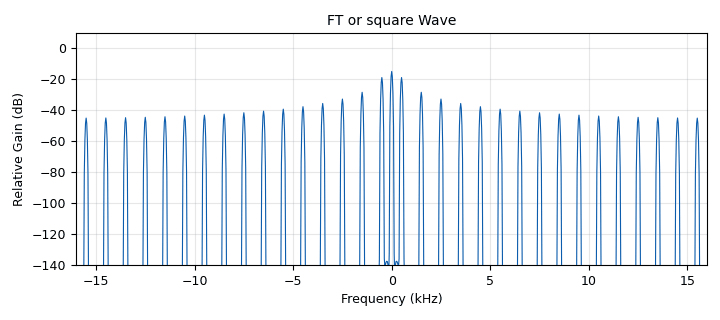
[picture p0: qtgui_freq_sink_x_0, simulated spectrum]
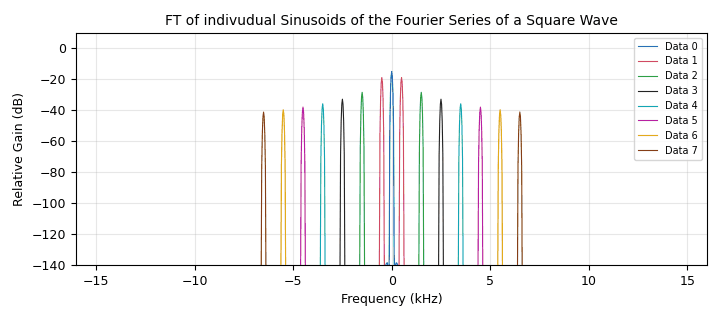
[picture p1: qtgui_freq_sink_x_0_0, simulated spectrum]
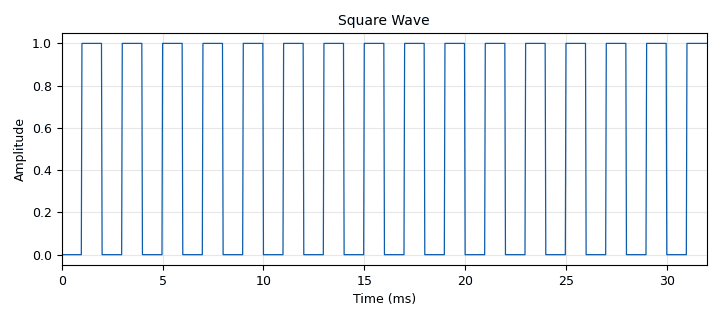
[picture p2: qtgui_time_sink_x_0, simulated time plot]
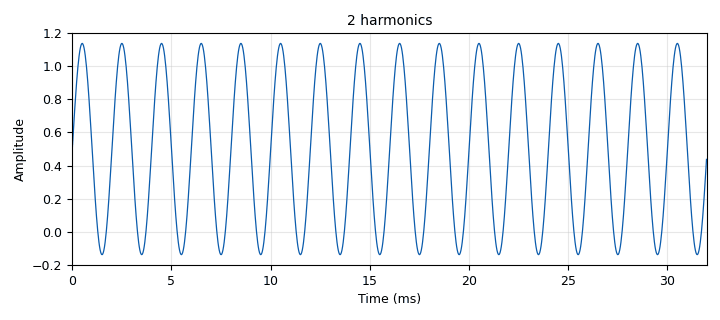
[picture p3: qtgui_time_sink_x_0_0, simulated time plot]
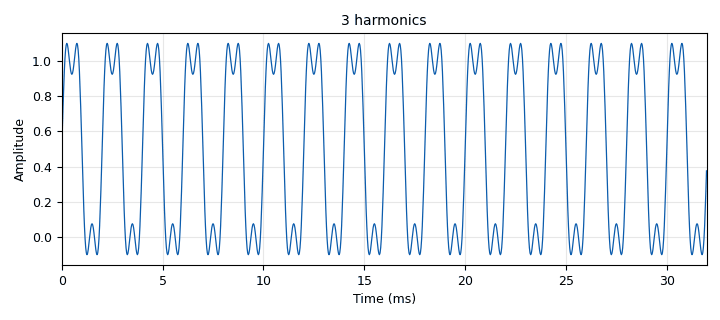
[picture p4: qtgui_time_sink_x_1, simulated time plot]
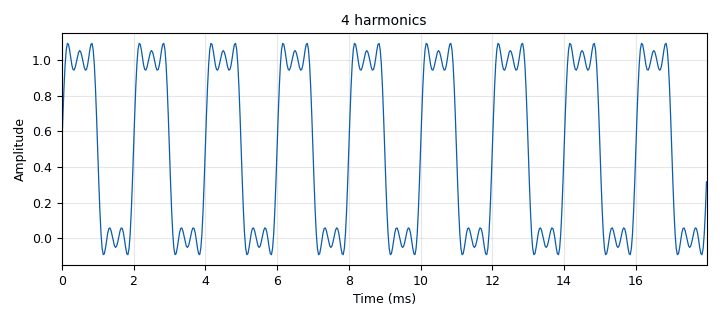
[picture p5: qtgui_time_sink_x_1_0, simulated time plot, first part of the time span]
<?xml version='1.0' encoding='utf-8'?>
<?grc format='1' created='3.7.10'?>
<flow_graph>
<block>
<key>options</key>
<param><key>id</key><value>top_block</value></param>
<param><key>generate_options</key><value>qt_gui</value></param>
</block>
<block>
<key>variable_qtgui_range</key>
<param><key>id</key><value>f</value></param>
<param><key>value</key><value>500</value></param>
<param><key>gui_hint</key><value>0,0,1,2</value></param>
<param><key>label</key><value>Frequency</value></param>
<param><key>orient</key><value>Qt.Horizontal</value></param>
<param><key>start</key><value>0</value></param>
<param><key>step</key><value>10</value></param>
<param><key>stop</key><value>1000</value></param>
</block>
<block>
<key>variable</key>
<param><key>id</key><value>samp_rate</value></param>
<param><key>value</key><value>32000</value></param>
</block>
<block>
<key>analog_const_source_x</key>
<param><key>id</key><value>analog_const_source_x_0</value></param>
<param><key>const</key><value>0.5</value></param>
<param><key>type</key><value>float</value></param>
</block>
<block>
<key>analog_sig_source_x</key>
<param><key>id</key><value>analog_sig_source_x_0</value></param>
<param><key>amp</key><value>1</value></param>
<param><key>freq</key><value>f*3</value></param>
<param><key>offset</key><value>0</value></param>
<param><key>type</key><value>float</value></param>
<param><key>samp_rate</key><value>samp_rate</value></param>
<param><key>waveform</key><value>analog.GR_SIN_WAVE</value></param>
</block>
<block>
<key>analog_sig_source_x</key>
<param><key>id</key><value>analog_sig_source_x_0_1</value></param>
<param><key>amp</key><value>1</value></param>
<param><key>freq</key><value>f</value></param>
<param><key>offset</key><value>0</value></param>
<param><key>type</key><value>float</value></param>
<param><key>samp_rate</key><value>samp_rate</value></param>
<param><key>waveform</key><value>analog.GR_SIN_WAVE</value></param>
</block>
<block>
<key>analog_sig_source_x</key>
<param><key>id</key><value>analog_sig_source_x_0_1_0</value></param>
<param><key>amp</key><value>1</value></param>
<param><key>freq</key><value>f</value></param>
<param><key>offset</key><value>0</value></param>
<param><key>type</key><value>float</value></param>
<param><key>samp_rate</key><value>samp_rate</value></param>
<param><key>waveform</key><value>analog.GR_SQR_WAVE</value></param>
</block>
<block>
<key>analog_sig_source_x</key>
<param><key>id</key><value>analog_sig_source_x_0_3</value></param>
<param><key>amp</key><value>1</value></param>
<param><key>freq</key><value>f*7</value></param>
<param><key>offset</key><value>0</value></param>
<param><key>type</key><value>float</value></param>
<param><key>samp_rate</key><value>samp_rate</value></param>
<param><key>waveform</key><value>analog.GR_SIN_WAVE</value></param>
</block>
<block>
<key>analog_sig_source_x</key>
<param><key>id</key><value>analog_sig_source_x_0_3_0</value></param>
<param><key>amp</key><value>1</value></param>
<param><key>freq</key><value>f*9</value></param>
<param><key>offset</key><value>0</value></param>
<param><key>type</key><value>float</value></param>
<param><key>samp_rate</key><value>samp_rate</value></param>
<param><key>waveform</key><value>analog.GR_SIN_WAVE</value></param>
</block>
<block>
<key>analog_sig_source_x</key>
<param><key>id</key><value>analog_sig_source_x_0_3_0_0</value></param>
<param><key>amp</key><value>1</value></param>
<param><key>freq</key><value>f*11</value></param>
<param><key>offset</key><value>0</value></param>
<param><key>type</key><value>float</value></param>
<param><key>samp_rate</key><value>samp_rate</value></param>
<param><key>waveform</key><value>analog.GR_SIN_WAVE</value></param>
</block>
<block>
<key>analog_sig_source_x</key>
<param><key>id</key><value>analog_sig_source_x_0_3_0_0_0</value></param>
<param><key>amp</key><value>1</value></param>
<param><key>freq</key><value>f*13</value></param>
<param><key>offset</key><value>0</value></param>
<param><key>type</key><value>float</value></param>
<param><key>samp_rate</key><value>samp_rate</value></param>
<param><key>waveform</key><value>analog.GR_SIN_WAVE</value></param>
</block>
<block>
<key>analog_sig_source_x</key>
<param><key>id</key><value>analog_sig_source_x_0_3_0_0_0_0</value></param>
<param><key>amp</key><value>1</value></param>
<param><key>freq</key><value>f*15</value></param>
<param><key>offset</key><value>0</value></param>
<param><key>type</key><value>float</value></param>
<param><key>samp_rate</key><value>samp_rate</value></param>
<param><key>waveform</key><value>analog.GR_SIN_WAVE</value></param>
</block>
<block>
<key>analog_sig_source_x</key>
<param><key>id</key><value>analog_sig_source_x_0_4</value></param>
<param><key>amp</key><value>1</value></param>
<param><key>freq</key><value>f*5</value></param>
<param><key>offset</key><value>0</value></param>
<param><key>type</key><value>float</value></param>
<param><key>samp_rate</key><value>samp_rate</value></param>
<param><key>waveform</key><value>analog.GR_SIN_WAVE</value></param>
</block>
<block>
<key>blocks_add_xx</key>
<param><key>id</key><value>blocks_add_xx_0</value></param>
<param><key>type</key><value>float</value></param>
</block>
<block>
<key>blocks_add_xx</key>
<param><key>id</key><value>blocks_add_xx_0_0</value></param>
<param><key>type</key><value>float</value></param>
</block>
<block>
<key>blocks_add_xx</key>
<param><key>id</key><value>blocks_add_xx_0_1</value></param>
<param><key>type</key><value>float</value></param>
</block>
<block>
<key>blocks_add_xx</key>
<param><key>id</key><value>blocks_add_xx_0_1_0</value></param>
<param><key>type</key><value>float</value></param>
</block>
<block>
<key>blocks_add_xx</key>
<param><key>id</key><value>blocks_add_xx_0_1_0_0</value></param>
<param><key>type</key><value>float</value></param>
</block>
<block>
<key>blocks_add_xx</key>
<param><key>id</key><value>blocks_add_xx_0_1_0_0_0</value></param>
<param><key>type</key><value>float</value></param>
</block>
<block>
<key>blocks_add_xx</key>
<param><key>id</key><value>blocks_add_xx_0_2</value></param>
<param><key>type</key><value>float</value></param>
</block>
<block>
<key>blocks_add_xx</key>
<param><key>id</key><value>blocks_add_xx_0_3</value></param>
<param><key>type</key><value>float</value></param>
</block>
<block>
<key>blocks_multiply_const_vxx</key>
<param><key>id</key><value>blocks_multiply_const_vxx_0</value></param>
<param><key>const</key><value>2/math.pi</value></param>
<param><key>type</key><value>float</value></param>
</block>
<block>
<key>blocks_multiply_const_vxx</key>
<param><key>id</key><value>blocks_multiply_const_vxx_0_0</value></param>
<param><key>const</key><value>2/(7*math.pi)</value></param>
<param><key>type</key><value>float</value></param>
</block>
<block>
<key>blocks_multiply_const_vxx</key>
<param><key>id</key><value>blocks_multiply_const_vxx_0_0_0</value></param>
<param><key>const</key><value>2/(9*math.pi)</value></param>
<param><key>type</key><value>float</value></param>
</block>
<block>
<key>blocks_multiply_const_vxx</key>
<param><key>id</key><value>blocks_multiply_const_vxx_0_0_0_0</value></param>
<param><key>const</key><value>2/(11*math.pi)</value></param>
<param><key>type</key><value>float</value></param>
</block>
<block>
<key>blocks_multiply_const_vxx</key>
<param><key>id</key><value>blocks_multiply_const_vxx_0_0_0_0_0</value></param>
<param><key>const</key><value>2/(13*math.pi)</value></param>
<param><key>type</key><value>float</value></param>
</block>
<block>
<key>blocks_multiply_const_vxx</key>
<param><key>id</key><value>blocks_multiply_const_vxx_0_0_0_0_0_0</value></param>
<param><key>const</key><value>2/(15*math.pi)</value></param>
<param><key>type</key><value>float</value></param>
</block>
<block>
<key>blocks_multiply_const_vxx</key>
<param><key>id</key><value>blocks_multiply_const_vxx_0_1</value></param>
<param><key>const</key><value>2/(5*math.pi)</value></param>
<param><key>type</key><value>float</value></param>
</block>
<block>
<key>blocks_multiply_const_vxx</key>
<param><key>id</key><value>blocks_multiply_const_vxx_0_2</value></param>
<param><key>const</key><value>2/(3*math.pi)</value></param>
<param><key>type</key><value>float</value></param>
</block>
<block>
<key>blocks_throttle</key>
<param><key>id</key><value>blocks_throttle_0</value></param>
<param><key>samples_per_second</key><value>samp_rate</value></param>
<param><key>type</key><value>float</value></param>
</block>
<block>
<key>blocks_throttle</key>
<param><key>id</key><value>blocks_throttle_0_0</value></param>
<param><key>samples_per_second</key><value>samp_rate</value></param>
<param><key>type</key><value>float</value></param>
</block>
<block>
<key>blocks_throttle</key>
<param><key>id</key><value>blocks_throttle_0_2</value></param>
<param><key>samples_per_second</key><value>samp_rate</value></param>
<param><key>type</key><value>float</value></param>
</block>
<block>
<key>blocks_throttle</key>
<param><key>id</key><value>blocks_throttle_0_3</value></param>
<param><key>samples_per_second</key><value>samp_rate</value></param>
<param><key>type</key><value>float</value></param>
</block>
<block>
<key>blocks_throttle</key>
<param><key>id</key><value>blocks_throttle_0_4</value></param>
<param><key>samples_per_second</key><value>samp_rate</value></param>
<param><key>type</key><value>float</value></param>
</block>
<block>
<key>blocks_throttle</key>
<param><key>id</key><value>blocks_throttle_0_5</value></param>
<param><key>samples_per_second</key><value>samp_rate</value></param>
<param><key>type</key><value>float</value></param>
</block>
<block>
<key>blocks_throttle</key>
<param><key>id</key><value>blocks_throttle_0_5_0</value></param>
<param><key>samples_per_second</key><value>samp_rate</value></param>
<param><key>type</key><value>float</value></param>
</block>
<block>
<key>blocks_throttle</key>
<param><key>id</key><value>blocks_throttle_0_5_0_0</value></param>
<param><key>samples_per_second</key><value>samp_rate</value></param>
<param><key>type</key><value>float</value></param>
</block>
<block>
<key>blocks_throttle</key>
<param><key>id</key><value>blocks_throttle_0_5_0_0_0</value></param>
<param><key>samples_per_second</key><value>samp_rate</value></param>
<param><key>type</key><value>float</value></param>
</block>
<block>
<key>blocks_throttle</key>
<param><key>id</key><value>blocks_throttle_0_5_0_0_0_0</value></param>
<param><key>samples_per_second</key><value>samp_rate</value></param>
<param><key>type</key><value>float</value></param>
</block>
<block>
<key>import</key>
<param><key>id</key><value>import_0</value></param>
<param><key>import</key><value>import math</value></param>
</block>
<block>
<key>qtgui_freq_sink_x</key>
<param><key>id</key><value>qtgui_freq_sink_x_0</value></param>
<param><key>bw</key><value>samp_rate</value></param>
<param><key>fc</key><value>0</value></param>
<param><key>fftsize</key><value>1024</value></param>
<param><key>name</key><value>"FT or square Wave"</value></param>
<param><key>showports</key><value>True</value></param>
<param><key>type</key><value>float</value></param>
<param><key>wintype</key><value>firdes.WIN_BLACKMAN_hARRIS</value></param>
</block>
<block>
<key>qtgui_freq_sink_x</key>
<param><key>id</key><value>qtgui_freq_sink_x_0_0</value></param>
<param><key>bw</key><value>samp_rate</value></param>
<param><key>fc</key><value>0</value></param>
<param><key>fftsize</key><value>1024</value></param>
<param><key>label2</key><value></value></param>
<param><key>label3</key><value></value></param>
<param><key>label4</key><value></value></param>
<param><key>label5</key><value></value></param>
<param><key>label6</key><value></value></param>
<param><key>label7</key><value></value></param>
<param><key>label8</key><value></value></param>
<param><key>name</key><value>"FT of indivudual Sinusoids of the Fourier Series of a Square Wave"</value></param>
<param><key>nconnections</key><value>8</value></param>
<param><key>showports</key><value>True</value></param>
<param><key>type</key><value>float</value></param>
<param><key>wintype</key><value>firdes.WIN_BLACKMAN_hARRIS</value></param>
</block>
<block>
<key>qtgui_time_sink_x</key>
<param><key>id</key><value>qtgui_time_sink_x_0</value></param>
<param><key>autoscale</key><value>True</value></param>
<param><key>gui_hint</key><value>1,0,1,2</value></param>
<param><key>grid</key><value>True</value></param>
<param><key>color1</key><value>"blue"</value></param>
<param><key>label1</key><value></value></param>
<param><key>name</key><value>"Square Wave"</value></param>
<param><key>size</key><value>1024</value></param>
<param><key>srate</key><value>samp_rate</value></param>
<param><key>type</key><value>float</value></param>
</block>
<block>
<key>qtgui_time_sink_x</key>
<param><key>id</key><value>qtgui_time_sink_x_0_0</value></param>
<param><key>autoscale</key><value>True</value></param>
<param><key>gui_hint</key><value>2,0,1,1</value></param>
<param><key>grid</key><value>True</value></param>
<param><key>color1</key><value>"blue"</value></param>
<param><key>label1</key><value></value></param>
<param><key>name</key><value>"2 harmonics"</value></param>
<param><key>size</key><value>1024</value></param>
<param><key>srate</key><value>samp_rate</value></param>
<param><key>type</key><value>float</value></param>
</block>
<block>
<key>qtgui_time_sink_x</key>
<param><key>id</key><value>qtgui_time_sink_x_1</value></param>
<param><key>autoscale</key><value>True</value></param>
<param><key>gui_hint</key><value>2,1,1,1</value></param>
<param><key>grid</key><value>True</value></param>
<param><key>color1</key><value>"blue"</value></param>
<param><key>label1</key><value></value></param>
<param><key>name</key><value>"3 harmonics"</value></param>
<param><key>size</key><value>1024</value></param>
<param><key>srate</key><value>samp_rate</value></param>
<param><key>type</key><value>float</value></param>
</block>
<block>
<key>qtgui_time_sink_x</key>
<param><key>id</key><value>qtgui_time_sink_x_1_0</value></param>
<param><key>autoscale</key><value>True</value></param>
<param><key>gui_hint</key><value>3,0,1,1</value></param>
<param><key>grid</key><value>True</value></param>
<param><key>color1</key><value>"blue"</value></param>
<param><key>label1</key><value></value></param>
<param><key>name</key><value>"4 harmonics"</value></param>
<param><key>size</key><value>1024</value></param>
<param><key>srate</key><value>samp_rate</value></param>
<param><key>type</key><value>float</value></param>
</block>
<block>
<key>qtgui_time_sink_x</key>
<param><key>id</key><value>qtgui_time_sink_x_1_1</value></param>
<param><key>autoscale</key><value>True</value></param>
<param><key>gui_hint</key><value>3,1,1,1</value></param>
<param><key>grid</key><value>True</value></param>
<param><key>color1</key><value>"blue"</value></param>
<param><key>label1</key><value></value></param>
<param><key>name</key><value>"5 harmonics"</value></param>
<param><key>size</key><value>1024</value></param>
<param><key>srate</key><value>samp_rate</value></param>
<param><key>type</key><value>float</value></param>
</block>
<block>
<key>qtgui_time_sink_x</key>
<param><key>id</key><value>qtgui_time_sink_x_1_1_0</value></param>
<param><key>autoscale</key><value>True</value></param>
<param><key>gui_hint</key><value>4,0,1,1</value></param>
<param><key>grid</key><value>True</value></param>
<param><key>color1</key><value>"blue"</value></param>
<param><key>label1</key><value></value></param>
<param><key>name</key><value>"6 harmonics"</value></param>
<param><key>size</key><value>1024</value></param>
<param><key>srate</key><value>samp_rate</value></param>
<param><key>type</key><value>float</value></param>
</block>
<block>
<key>qtgui_time_sink_x</key>
<param><key>id</key><value>qtgui_time_sink_x_1_1_0_0</value></param>
<param><key>autoscale</key><value>True</value></param>
<param><key>gui_hint</key><value>4,1,1,1</value></param>
<param><key>grid</key><value>True</value></param>
<param><key>color1</key><value>"blue"</value></param>
<param><key>label1</key><value></value></param>
<param><key>name</key><value>"7 harmonics"</value></param>
<param><key>size</key><value>1024</value></param>
<param><key>srate</key><value>samp_rate</value></param>
<param><key>type</key><value>float</value></param>
</block>
<block>
<key>qtgui_time_sink_x</key>
<param><key>id</key><value>qtgui_time_sink_x_1_1_0_0_0</value></param>
<param><key>autoscale</key><value>True</value></param>
<param><key>gui_hint</key><value>5,0,1,1</value></param>
<param><key>grid</key><value>True</value></param>
<param><key>color1</key><value>"blue"</value></param>
<param><key>label1</key><value></value></param>
<param><key>name</key><value>"8 harmonics"</value></param>
<param><key>size</key><value>1024</value></param>
<param><key>srate</key><value>samp_rate</value></param>
<param><key>type</key><value>float</value></param>
</block>
<block>
<key>qtgui_time_sink_x</key>
<param><key>id</key><value>qtgui_time_sink_x_1_1_0_0_0_0</value></param>
<param><key>autoscale</key><value>True</value></param>
<param><key>gui_hint</key><value>5,1,1,1</value></param>
<param><key>grid</key><value>True</value></param>
<param><key>color1</key><value>"blue"</value></param>
<param><key>label1</key><value></value></param>
<param><key>name</key><value>"9 harmonics"</value></param>
<param><key>size</key><value>1024</value></param>
<param><key>srate</key><value>samp_rate</value></param>
<param><key>type</key><value>float</value></param>
</block>
<connection><source_block_id>analog_const_source_x_0</source_block_id><sink_block_id>blocks_throttle_0_4</sink_block_id><source_key>0</source_key><sink_key>0</sink_key></connection>
<connection><source_block_id>analog_sig_source_x_0</source_block_id><sink_block_id>blocks_throttle_0_3</sink_block_id><source_key>0</source_key><sink_key>0</sink_key></connection>
<connection><source_block_id>analog_sig_source_x_0_1</source_block_id><sink_block_id>blocks_throttle_0_0</sink_block_id><source_key>0</source_key><sink_key>0</sink_key></connection>
<connection><source_block_id>analog_sig_source_x_0_1_0</source_block_id><sink_block_id>blocks_throttle_0</sink_block_id><source_key>0</source_key><sink_key>0</sink_key></connection>
<connection><source_block_id>analog_sig_source_x_0_3</source_block_id><sink_block_id>blocks_throttle_0_5</sink_block_id><source_key>0</source_key><sink_key>0</sink_key></connection>
<connection><source_block_id>analog_sig_source_x_0_3_0</source_block_id><sink_block_id>blocks_throttle_0_5_0</sink_block_id><source_key>0</source_key><sink_key>0</sink_key></connection>
<connection><source_block_id>analog_sig_source_x_0_3_0_0</source_block_id><sink_block_id>blocks_throttle_0_5_0_0</sink_block_id><source_key>0</source_key><sink_key>0</sink_key></connection>
<connection><source_block_id>analog_sig_source_x_0_3_0_0_0</source_block_id><sink_block_id>blocks_throttle_0_5_0_0_0</sink_block_id><source_key>0</source_key><sink_key>0</sink_key></connection>
<connection><source_block_id>analog_sig_source_x_0_3_0_0_0_0</source_block_id><sink_block_id>blocks_throttle_0_5_0_0_0_0</sink_block_id><source_key>0</source_key><sink_key>0</sink_key></connection>
<connection><source_block_id>analog_sig_source_x_0_4</source_block_id><sink_block_id>blocks_throttle_0_2</sink_block_id><source_key>0</source_key><sink_key>0</sink_key></connection>
<connection><source_block_id>blocks_add_xx_0</source_block_id><sink_block_id>blocks_add_xx_0_0</sink_block_id><source_key>0</source_key><sink_key>0</sink_key></connection>
<connection><source_block_id>blocks_add_xx_0</source_block_id><sink_block_id>qtgui_time_sink_x_0_0</sink_block_id><source_key>0</source_key><sink_key>0</sink_key></connection>
<connection><source_block_id>blocks_add_xx_0_0</source_block_id><sink_block_id>blocks_add_xx_0_2</sink_block_id><source_key>0</source_key><sink_key>0</sink_key></connection>
<connection><source_block_id>blocks_add_xx_0_0</source_block_id><sink_block_id>qtgui_time_sink_x_1</sink_block_id><source_key>0</source_key><sink_key>0</sink_key></connection>
<connection><source_block_id>blocks_add_xx_0_1</source_block_id><sink_block_id>blocks_add_xx_0_1_0</sink_block_id><source_key>0</source_key><sink_key>0</sink_key></connection>
<connection><source_block_id>blocks_add_xx_0_1</source_block_id><sink_block_id>qtgui_time_sink_x_1_1_0</sink_block_id><source_key>0</source_key><sink_key>0</sink_key></connection>
<connection><source_block_id>blocks_add_xx_0_1_0</source_block_id><sink_block_id>blocks_add_xx_0_1_0_0</sink_block_id><source_key>0</source_key><sink_key>0</sink_key></connection>
<connection><source_block_id>blocks_add_xx_0_1_0</source_block_id><sink_block_id>qtgui_time_sink_x_1_1_0_0</sink_block_id><source_key>0</source_key><sink_key>0</sink_key></connection>
<connection><source_block_id>blocks_add_xx_0_1_0_0</source_block_id><sink_block_id>blocks_add_xx_0_1_0_0_0</sink_block_id><source_key>0</source_key><sink_key>0</sink_key></connection>
<connection><source_block_id>blocks_add_xx_0_1_0_0</source_block_id><sink_block_id>qtgui_time_sink_x_1_1_0_0_0</sink_block_id><source_key>0</source_key><sink_key>0</sink_key></connection>
<connection><source_block_id>blocks_add_xx_0_1_0_0_0</source_block_id><sink_block_id>qtgui_time_sink_x_1_1_0_0_0_0</sink_block_id><source_key>0</source_key><sink_key>0</sink_key></connection>
<connection><source_block_id>blocks_add_xx_0_2</source_block_id><sink_block_id>blocks_add_xx_0_3</sink_block_id><source_key>0</source_key><sink_key>0</sink_key></connection>
<connection><source_block_id>blocks_add_xx_0_2</source_block_id><sink_block_id>qtgui_time_sink_x_1_0</sink_block_id><source_key>0</source_key><sink_key>0</sink_key></connection>
<connection><source_block_id>blocks_add_xx_0_3</source_block_id><sink_block_id>blocks_add_xx_0_1</sink_block_id><source_key>0</source_key><sink_key>0</sink_key></connection>
<connection><source_block_id>blocks_add_xx_0_3</source_block_id><sink_block_id>qtgui_time_sink_x_1_1</sink_block_id><source_key>0</source_key><sink_key>0</sink_key></connection>
<connection><source_block_id>blocks_multiply_const_vxx_0</source_block_id><sink_block_id>blocks_add_xx_0</sink_block_id><source_key>0</source_key><sink_key>1</sink_key></connection>
<connection><source_block_id>blocks_multiply_const_vxx_0</source_block_id><sink_block_id>qtgui_freq_sink_x_0_0</sink_block_id><source_key>0</source_key><sink_key>1</sink_key></connection>
<connection><source_block_id>blocks_multiply_const_vxx_0_0</source_block_id><sink_block_id>blocks_add_xx_0_3</sink_block_id><source_key>0</source_key><sink_key>1</sink_key></connection>
<connection><source_block_id>blocks_multiply_const_vxx_0_0</source_block_id><sink_block_id>qtgui_freq_sink_x_0_0</sink_block_id><source_key>0</source_key><sink_key>4</sink_key></connection>
<connection><source_block_id>blocks_multiply_const_vxx_0_0_0</source_block_id><sink_block_id>blocks_add_xx_0_1</sink_block_id><source_key>0</source_key><sink_key>1</sink_key></connection>
<connection><source_block_id>blocks_multiply_const_vxx_0_0_0</source_block_id><sink_block_id>qtgui_freq_sink_x_0_0</sink_block_id><source_key>0</source_key><sink_key>5</sink_key></connection>
<connection><source_block_id>blocks_multiply_const_vxx_0_0_0_0</source_block_id><sink_block_id>blocks_add_xx_0_1_0</sink_block_id><source_key>0</source_key><sink_key>1</sink_key></connection>
<connection><source_block_id>blocks_multiply_const_vxx_0_0_0_0</source_block_id><sink_block_id>qtgui_freq_sink_x_0_0</sink_block_id><source_key>0</source_key><sink_key>6</sink_key></connection>
<connection><source_block_id>blocks_multiply_const_vxx_0_0_0_0_0</source_block_id><sink_block_id>blocks_add_xx_0_1_0_0</sink_block_id><source_key>0</source_key><sink_key>1</sink_key></connection>
<connection><source_block_id>blocks_multiply_const_vxx_0_0_0_0_0</source_block_id><sink_block_id>qtgui_freq_sink_x_0_0</sink_block_id><source_key>0</source_key><sink_key>7</sink_key></connection>
<connection><source_block_id>blocks_multiply_const_vxx_0_0_0_0_0_0</source_block_id><sink_block_id>blocks_add_xx_0_1_0_0_0</sink_block_id><source_key>0</source_key><sink_key>1</sink_key></connection>
<connection><source_block_id>blocks_multiply_const_vxx_0_1</source_block_id><sink_block_id>blocks_add_xx_0_2</sink_block_id><source_key>0</source_key><sink_key>1</sink_key></connection>
<connection><source_block_id>blocks_multiply_const_vxx_0_1</source_block_id><sink_block_id>qtgui_freq_sink_x_0_0</sink_block_id><source_key>0</source_key><sink_key>3</sink_key></connection>
<connection><source_block_id>blocks_multiply_const_vxx_0_2</source_block_id><sink_block_id>blocks_add_xx_0_0</sink_block_id><source_key>0</source_key><sink_key>1</sink_key></connection>
<connection><source_block_id>blocks_multiply_const_vxx_0_2</source_block_id><sink_block_id>qtgui_freq_sink_x_0_0</sink_block_id><source_key>0</source_key><sink_key>2</sink_key></connection>
<connection><source_block_id>blocks_throttle_0</source_block_id><sink_block_id>qtgui_freq_sink_x_0</sink_block_id><source_key>0</source_key><sink_key>0</sink_key></connection>
<connection><source_block_id>blocks_throttle_0</source_block_id><sink_block_id>qtgui_time_sink_x_0</sink_block_id><source_key>0</source_key><sink_key>0</sink_key></connection>
<connection><source_block_id>blocks_throttle_0_0</source_block_id><sink_block_id>blocks_multiply_const_vxx_0</sink_block_id><source_key>0</source_key><sink_key>0</sink_key></connection>
<connection><source_block_id>blocks_throttle_0_2</source_block_id><sink_block_id>blocks_multiply_const_vxx_0_1</sink_block_id><source_key>0</source_key><sink_key>0</sink_key></connection>
<connection><source_block_id>blocks_throttle_0_3</source_block_id><sink_block_id>blocks_multiply_const_vxx_0_2</sink_block_id><source_key>0</source_key><sink_key>0</sink_key></connection>
<connection><source_block_id>blocks_throttle_0_4</source_block_id><sink_block_id>blocks_add_xx_0</sink_block_id><source_key>0</source_key><sink_key>0</sink_key></connection>
<connection><source_block_id>blocks_throttle_0_4</source_block_id><sink_block_id>qtgui_freq_sink_x_0_0</sink_block_id><source_key>0</source_key><sink_key>0</sink_key></connection>
<connection><source_block_id>blocks_throttle_0_5</source_block_id><sink_block_id>blocks_multiply_const_vxx_0_0</sink_block_id><source_key>0</source_key><sink_key>0</sink_key></connection>
<connection><source_block_id>blocks_throttle_0_5_0</source_block_id><sink_block_id>blocks_multiply_const_vxx_0_0_0</sink_block_id><source_key>0</source_key><sink_key>0</sink_key></connection>
<connection><source_block_id>blocks_throttle_0_5_0_0</source_block_id><sink_block_id>blocks_multiply_const_vxx_0_0_0_0</sink_block_id><source_key>0</source_key><sink_key>0</sink_key></connection>
<connection><source_block_id>blocks_throttle_0_5_0_0_0</source_block_id><sink_block_id>blocks_multiply_const_vxx_0_0_0_0_0</sink_block_id><source_key>0</source_key><sink_key>0</sink_key></connection>
<connection><source_block_id>blocks_throttle_0_5_0_0_0_0</source_block_id><sink_block_id>blocks_multiply_const_vxx_0_0_0_0_0_0</sink_block_id><source_key>0</source_key><sink_key>0</sink_key></connection>
</flow_graph>
